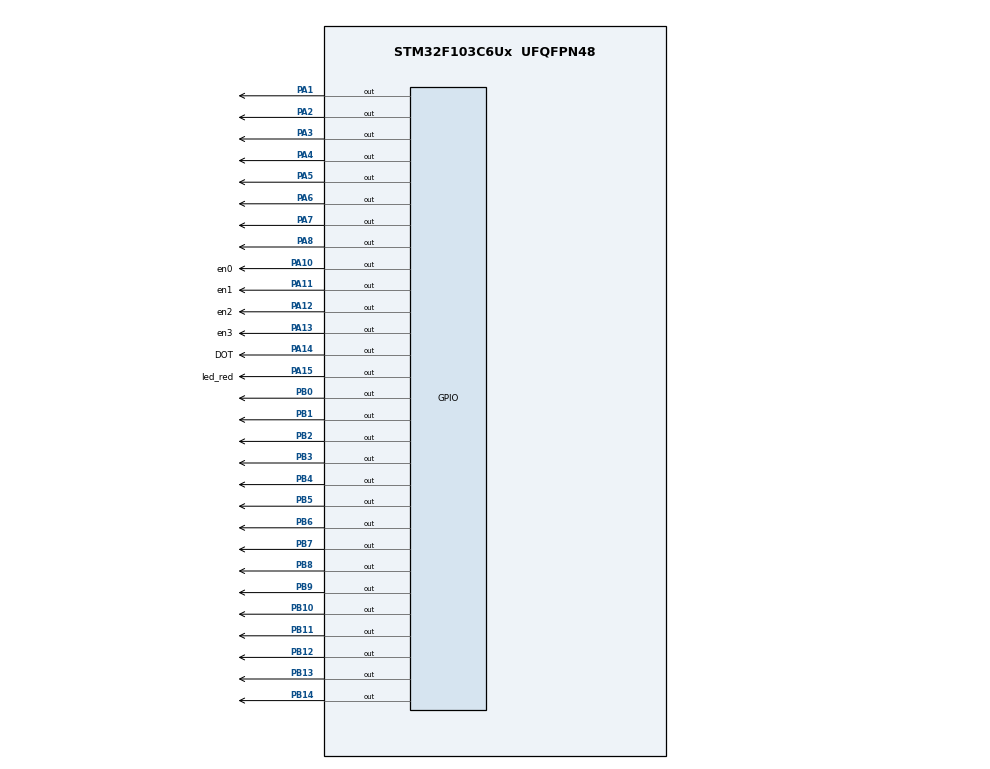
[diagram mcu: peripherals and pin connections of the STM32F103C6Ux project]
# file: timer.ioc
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Mcu.Family=STM32F1
Mcu.Name=STM32F103C6Ux
Mcu.Package=UFQFPN48
NVIC.PriorityGroup=NVIC_PRIORITYGROUP_4
NVIC.TIM2_IRQn=true\:0\:0\:false\:false\:true\:true\:true
PA1.Signal=GPIO_Output
PA10.GPIO_Label=en0
PA10.Signal=GPIO_Output
PA11.GPIO_Label=en1
PA11.Signal=GPIO_Output
PA12.GPIO_Label=en2
PA12.Signal=GPIO_Output
PA13.GPIO_Label=en3
PA13.Signal=GPIO_Output
PA14.GPIO_Label=DOT
PA14.Signal=GPIO_Output
PA15.GPIO_Label=led_red
PA15.Signal=GPIO_Output
PA2.Signal=GPIO_Output
PA3.Signal=GPIO_Output
PA4.Signal=GPIO_Output
PA5.Signal=GPIO_Output
PA6.Signal=GPIO_Output
PA7.Signal=GPIO_Output
PA8.Signal=GPIO_Output
PB0.Signal=GPIO_Output
PB1.Signal=GPIO_Output
PB10.Signal=GPIO_Output
PB11.Signal=GPIO_Output
PB12.Signal=GPIO_Output
PB13.Signal=GPIO_Output
PB14.Signal=GPIO_Output
PB2.Signal=GPIO_Output
PB3.Signal=GPIO_Output
PB4.Signal=GPIO_Output
PB5.Signal=GPIO_Output
PB6.Signal=GPIO_Output
PB7.Signal=GPIO_Output
PB8.Signal=GPIO_Output
PB9.Signal=GPIO_Output
ProjectManager.HeapSize=0x200
ProjectManager.StackSize=0x400
ProjectManager.TargetToolchain=STM32CubeIDE
RCC.APB1Freq_Value=8000000
RCC.APB2Freq_Value=8000000
TIM2.Period=9
TIM2.Prescaler=7999
VP_SYS_VS_ND.Mode=No_Debug
VP_TIM2_VS_ClockSourceINT.Mode=Internal
board=custom

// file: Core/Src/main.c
/* USER CODE BEGIN Header */
/**
 ******************************************************************************
 * @file           : main.c
 * @brief          : Main program body
 ******************************************************************************
 * @attention
 *
 * <h2><center>&copy; Copyright (c) 2023 STMicroelectronics.
 * All rights reserved.</center></h2>
 *
 * This software component is licensed by ST under BSD 3-Clause license,
 * the "License"; You may not use this file except in compliance with the
 * License. You may obtain a copy of the License at:
 *                        opensource.org/licenses/BSD-3-Clause
 *
 ******************************************************************************
 */
/* USER CODE END Header */
#include "main.h"

/* USER CODE BEGIN Includes */
#include "software_timer.h"
#include "character_display.h"
/* USER CODE END Includes */

TIM_HandleTypeDef htim2;

void SystemClock_Config(void);
static void MX_GPIO_Init(void);
static void MX_TIM2_Init(void);

/* USER CODE BEGIN 0 */
const int MAX_LED = 8;
int index_led_matrix = 0;
uint8_t matrix_buffer[8] = {0x18, 0x3c, 0x66, 0x66, 0x7e, 0x66, 0x66, 0x66};
void writePin(GPIO_TypeDef *GPIOx, uint16_t GPIO_Pin) {
	HAL_GPIO_WritePin(GPIOx, GPIO_Pin, 1);
	HAL_GPIO_WritePin(GPIOx, ~GPIO_Pin, 0);
}
void updateLEDMatrix(int index) {
	writePin(GPIOA, 0x01 << (index + 1)); // PA1 - PA8
	writePin(GPIOB, matrix_buffer[index]);
}
uint8_t shiftbit(uint8_t a) {
	uint8_t ret = a & 1;
	a = a >> 1;
	a = a | (ret << 7);
	return a;
}
/* USER CODE END 0 */

int main(void) {

	/* MCU Configuration--------------------------------------------------------*/

	/* Reset of all peripherals, Initializes the Flash interface and the Systick. */
	HAL_Init();

	/* Configure the system clock */
	SystemClock_Config();

	/* Initialize all configured peripherals */
	MX_GPIO_Init();
	MX_TIM2_Init();
	/* USER CODE BEGIN 2 */
	HAL_TIM_Base_Start_IT(&htim2);
	/* USER CODE END 2 */

	/* Infinite loop */
	/* USER CODE BEGIN WHILE */
	setTimer1(50);
	int index_char = 0;
	while (1) {
		if (timer1_flag == 1) {
			setTimer1(50);
			updateLEDMatrix(index_led_matrix);
			index_led_matrix = (index_led_matrix + 1) % MAX_LED;
			if (index_led_matrix == 0) {
			// update matrix_buffer
				matrix_buffer[0] = shiftbit(matrix_buffer[0]);
				matrix_buffer[1] = shiftbit(matrix_buffer[1]);
				matrix_buffer[2] = shiftbit(matrix_buffer[2]);
				matrix_buffer[3] = shiftbit(matrix_buffer[3]);
				matrix_buffer[4] = shiftbit(matrix_buffer[4]);
				matrix_buffer[5] = shiftbit(matrix_buffer[5]);
				matrix_buffer[6] = shiftbit(matrix_buffer[6]);
				matrix_buffer[7] = shiftbit(matrix_buffer[7]);
				index_char = (index_char + 1) % MAX_CHAR;
			}
		}
		/* USER CODE END WHILE */

	}
}

void SystemClock_Config(void) {
	RCC_OscInitTypeDef RCC_OscInitStruct = { 0 };
	RCC_ClkInitTypeDef RCC_ClkInitStruct = { 0 };

	/** Initializes the RCC Oscillators according to the specified parameters
	 * in the RCC_OscInitTypeDef structure.
	 */
	RCC_OscInitStruct.OscillatorType = RCC_OSCILLATORTYPE_HSI;
	RCC_OscInitStruct.HSIState = RCC_HSI_ON;
	RCC_OscInitStruct.HSICalibrationValue = RCC_HSICALIBRATION_DEFAULT;
	RCC_OscInitStruct.PLL.PLLState = RCC_PLL_NONE;
	if (HAL_RCC_OscConfig(&RCC_OscInitStruct) != HAL_OK) {
		Error_Handler();
	}
	/** Initializes the CPU, AHB and APB buses clocks
	 */
	RCC_ClkInitStruct.ClockType = RCC_CLOCKTYPE_HCLK | RCC_CLOCKTYPE_SYSCLK
			| RCC_CLOCKTYPE_PCLK1 | RCC_CLOCKTYPE_PCLK2;
	RCC_ClkInitStruct.SYSCLKSource = RCC_SYSCLKSOURCE_HSI;
	RCC_ClkInitStruct.AHBCLKDivider = RCC_SYSCLK_DIV1;
	RCC_ClkInitStruct.APB1CLKDivider = RCC_HCLK_DIV1;
	RCC_ClkInitStruct.APB2CLKDivider = RCC_HCLK_DIV1;

	if (HAL_RCC_ClockConfig(&RCC_ClkInitStruct, FLASH_LATENCY_0) != HAL_OK) {
		Error_Handler();
	}
}

static void MX_TIM2_Init(void) {

	TIM_ClockConfigTypeDef sClockSourceConfig = { 0 };
	TIM_MasterConfigTypeDef sMasterConfig = { 0 };

	htim2.Instance = TIM2;
	htim2.Init.Prescaler = 7999;
	htim2.Init.CounterMode = TIM_COUNTERMODE_UP;
	htim2.Init.Period = 9;
	htim2.Init.ClockDivision = TIM_CLOCKDIVISION_DIV1;
	htim2.Init.AutoReloadPreload = TIM_AUTORELOAD_PRELOAD_DISABLE;
	if (HAL_TIM_Base_Init(&htim2) != HAL_OK) {
		Error_Handler();
	}
	sClockSourceConfig.ClockSource = TIM_CLOCKSOURCE_INTERNAL;
	if (HAL_TIM_ConfigClockSource(&htim2, &sClockSourceConfig) != HAL_OK) {
		Error_Handler();
	}
	sMasterConfig.MasterOutputTrigger = TIM_TRGO_RESET;
	sMasterConfig.MasterSlaveMode = TIM_MASTERSLAVEMODE_DISABLE;
	if (HAL_TIMEx_MasterConfigSynchronization(&htim2, &sMasterConfig)
			!= HAL_OK) {
		Error_Handler();
	}

}

static void MX_GPIO_Init(void) {
	GPIO_InitTypeDef GPIO_InitStruct = { 0 };

	/* GPIO Ports Clock Enable */
	__HAL_RCC_GPIOA_CLK_ENABLE();
	__HAL_RCC_GPIOB_CLK_ENABLE();

	/*Configure GPIO pin Output Level */
	HAL_GPIO_WritePin(GPIOA,
			GPIO_PIN_1 | GPIO_PIN_2 | GPIO_PIN_3 | GPIO_PIN_4 | GPIO_PIN_5
					| GPIO_PIN_6 | GPIO_PIN_7 | GPIO_PIN_8 | en0_Pin | en1_Pin
					| en2_Pin | en3_Pin | DOT_Pin | led_red_Pin,
			GPIO_PIN_RESET);

	/*Configure GPIO pin Output Level */
	HAL_GPIO_WritePin(GPIOB,
			GPIO_PIN_0 | GPIO_PIN_1 | GPIO_PIN_2 | GPIO_PIN_10 | GPIO_PIN_11
					| GPIO_PIN_12 | GPIO_PIN_13 | GPIO_PIN_14 | GPIO_PIN_3
					| GPIO_PIN_4 | GPIO_PIN_5 | GPIO_PIN_6 | GPIO_PIN_7
					| GPIO_PIN_8 | GPIO_PIN_9, GPIO_PIN_RESET);

	/*Configure GPIO pins : PA1 PA2 PA3 PA4
	 PA5 PA6 PA7 PA8
	 en0_Pin en1_Pin en2_Pin en3_Pin
	 DOT_Pin led_red_Pin */
	GPIO_InitStruct.Pin = GPIO_PIN_1 | GPIO_PIN_2 | GPIO_PIN_3 | GPIO_PIN_4
			| GPIO_PIN_5 | GPIO_PIN_6 | GPIO_PIN_7 | GPIO_PIN_8 | en0_Pin
			| en1_Pin | en2_Pin | en3_Pin | DOT_Pin | led_red_Pin;
	GPIO_InitStruct.Mode = GPIO_MODE_OUTPUT_PP;
	GPIO_InitStruct.Pull = GPIO_NOPULL;
	GPIO_InitStruct.Speed = GPIO_SPEED_FREQ_LOW;
	HAL_GPIO_Init(GPIOA, &GPIO_InitStruct);

	/*Configure GPIO pins : PB0 PB1 PB2 PB10
	 PB11 PB12 PB13 PB14
	 PB3 PB4 PB5 PB6
	 PB7 PB8 PB9 */
	GPIO_InitStruct.Pin = GPIO_PIN_0 | GPIO_PIN_1 | GPIO_PIN_2 | GPIO_PIN_10
			| GPIO_PIN_11 | GPIO_PIN_12 | GPIO_PIN_13 | GPIO_PIN_14 | GPIO_PIN_3
			| GPIO_PIN_4 | GPIO_PIN_5 | GPIO_PIN_6 | GPIO_PIN_7 | GPIO_PIN_8
			| GPIO_PIN_9;
	GPIO_InitStruct.Mode = GPIO_MODE_OUTPUT_PP;
	GPIO_InitStruct.Pull = GPIO_NOPULL;
	GPIO_InitStruct.Speed = GPIO_SPEED_FREQ_LOW;
	HAL_GPIO_Init(GPIOB, &GPIO_InitStruct);

}

/* USER CODE BEGIN 4 */
void HAL_TIM_PeriodElapsedCallback(TIM_HandleTypeDef *htim) {

	timerRun();
}
/* USER CODE END 4 */

void Error_Handler(void) {
	__disable_irq();
	while (1) {
	}
}

/************************ (C) COPYRIGHT STMicroelectronics *****END OF FILE****/
